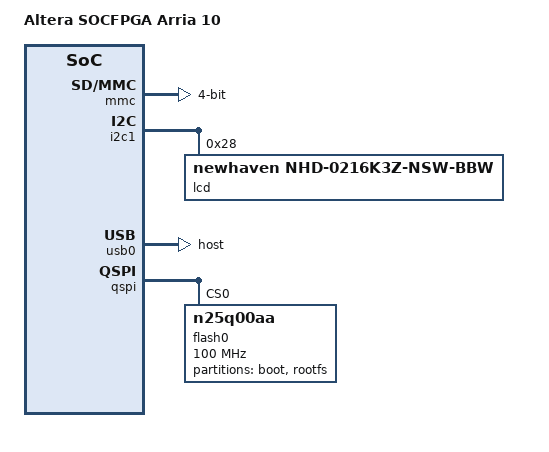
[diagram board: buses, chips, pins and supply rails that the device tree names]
/*-
 * Copyright (c) 2017 Ruslan Bukin <br@bsdpad.com>
 * All rights reserved.
 *
 * This software was developed by SRI International and the University of
 * Cambridge Computer Laboratory under DARPA/AFRL contract FA8750-10-C-0237
 * ("CTSRD"), as part of the DARPA CRASH research programme.
 *
 * Redistribution and use in source and binary forms, with or without
 * modification, are permitted provided that the following conditions
 * are met:
 * 1. Redistributions of source code must retain the above copyright
 *    notice, this list of conditions and the following disclaimer.
 * 2. Redistributions in binary form must reproduce the above copyright
 *    notice, this list of conditions and the following disclaimer in the
 *    documentation and/or other materials provided with the distribution.
 *
 * THIS SOFTWARE IS PROVIDED BY THE AUTHOR AND CONTRIBUTORS ``AS IS'' AND
 * ANY EXPRESS OR IMPLIED WARRANTIES, INCLUDING, BUT NOT LIMITED TO, THE
 * IMPLIED WARRANTIES OF MERCHANTABILITY AND FITNESS FOR A PARTICULAR PURPOSE
 * ARE DISCLAIMED.  IN NO EVENT SHALL THE AUTHOR OR CONTRIBUTORS BE LIABLE
 * FOR ANY DIRECT, INDIRECT, INCIDENTAL, SPECIAL, EXEMPLARY, OR CONSEQUENTIAL
 * DAMAGES (INCLUDING, BUT NOT LIMITED TO, PROCUREMENT OF SUBSTITUTE GOODS
 * OR SERVICES; LOSS OF USE, DATA, OR PROFITS; OR BUSINESS INTERRUPTION)
 * HOWEVER CAUSED AND ON ANY THEORY OF LIABILITY, WHETHER IN CONTRACT, STRICT
 * LIABILITY, OR TORT (INCLUDING NEGLIGENCE OR OTHERWISE) ARISING IN ANY WAY
 * OUT OF THE USE OF THIS SOFTWARE, EVEN IF ADVISED OF THE POSSIBILITY OF
 * SUCH DAMAGE.
 *
 * $FreeBSD$
 */

/dts-v1/;
#include "socfpga_arria10_socdk.dtsi"

/ {
	model = "Altera SOCFPGA Arria 10";
	compatible = "altr,socfpga-arria10", "altr,socfpga";

	/* Reserve first page for secondary CPU trampoline code */
	memreserve = < 0x00000000 0x1000 >;

	soc {
		/* Local timer */
		timer@ffffc600 {
			clock-frequency = <200000000>;
		};

		/* Global timer */
		global_timer: timer@ffffc200 {
			compatible = "arm,cortex-a9-global-timer";
			reg = <0xffffc200 0x20>;
			interrupts = <1 11 0x301>;
			clock-frequency = <200000000>;
		};
	};

	chosen {
		stdin = "serial1";
		stdout = "serial1";
	};
};

&uart1 {
	clock-frequency = < 50000000 >;
};

&mmc {
	status = "okay";
	num-slots = <1>;
	cap-sd-highspeed;
	broken-cd;
	bus-width = <4>;
	bus-frequency = <200000000>;
};

&i2c1 {
	lcd@28 {
		compatible = "newhaven,nhd-0216k3z-nsw-bbw";
		reg = <0x28>;
	};
};

&usb0 {
	dr_mode = "host";
};

&qspi {
	status = "okay";

	dmas = <&pdma 24>, <&pdma 25>;
	dma-names = "tx", "rx";

	flash0: n25q00@0 {
		#address-cells = <1>;
		#size-cells = <1>;
		compatible = "n25q00aa";
		reg = <0>;
		spi-max-frequency = <100000000>;

		m25p,fast-read;
		cdns,page-size = <256>;
		cdns,block-size = <16>;
		cdns,read-delay = <4>;
		cdns,tshsl-ns = <50>;
		cdns,tsd2d-ns = <50>;
		cdns,tchsh-ns = <4>;
		cdns,tslch-ns = <4>;

		partition@qspi-boot {
			label = "boot";
			reg = <0x0 0x2720000>;
		};

		partition@qspi-rootfs {
			label = "rootfs";
			reg = <0x2720000 0x58E0000>;
		};
	};
};
